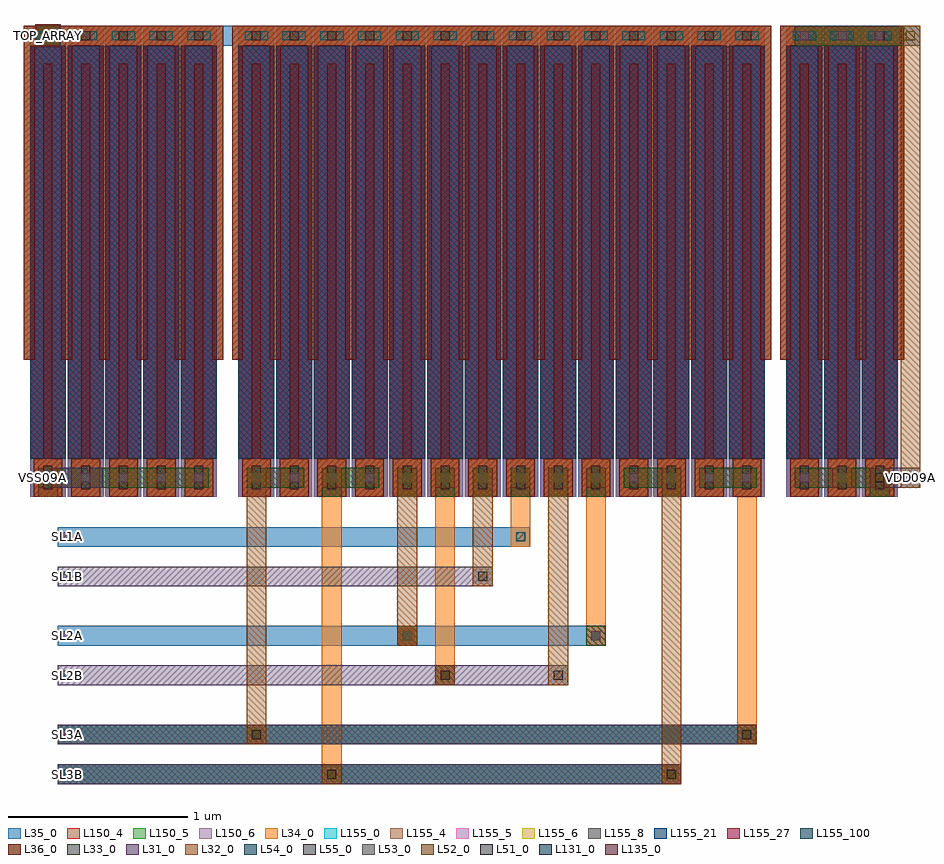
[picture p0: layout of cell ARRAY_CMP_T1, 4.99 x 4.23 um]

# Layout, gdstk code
from math import pi, radians
import gdstk
lib = gdstk.Library(unit=1e-6, precision=1e-09)
def R(c, l, rs):  # rectangles x0, y0, x1, y1
    for r in rs: c.add(gdstk.rectangle(r[:2], r[2:], *l))
def A(c, l, x, y, w, h, nx, ny, dx, dy):  # array of equal rectangles
    R(c, l, [(x+i*dx, y+j*dy, x+i*dx+w, y+j*dy+h) for i in range(nx) for j in range(ny)])
L31_0 = (31, 0)
L32_0 = (32, 0)
L33_0 = (33, 0)
L34_0 = (34, 0)
L35_0 = (35, 0)
L36_0 = (36, 0)
L51_0 = (51, 0)
L52_0 = (52, 0)
L53_0 = (53, 0)
L54_0 = (54, 0)
L55_0 = (55, 0)
L131_0 = (131, 0)
L135_0 = (135, 0)
L150_4 = (150, 4)
L150_5 = (150, 5)
L150_6 = (150, 6)
L155_0 = (155, 0)
L155_4 = (155, 4)
L155_5 = (155, 5)
L155_6 = (155, 6)
L155_8 = (155, 8)
L155_21 = (155, 21)
L155_27 = (155, 27)
L155_100 = (155, 100)

m5_m4_cdns_621574508777 = lib.new_cell('M5_M4_CDNS_621574508777')
R(m5_m4_cdns_621574508777, L34_0, [(-0.07,-0.105,0.07,0.105)])
R(m5_m4_cdns_621574508777, L35_0, [(-0.07,-0.105,0.07,0.105)])
R(m5_m4_cdns_621574508777, L54_0, [(-0.025,-0.065,0.025,0.065)])

m6_m5_cdns_621574508778 = lib.new_cell('M6_M5_CDNS_621574508778')
R(m6_m5_cdns_621574508778, L35_0, [(-0.07,-0.105,0.07,0.105)])
R(m6_m5_cdns_621574508778, L36_0, [(-0.055,-0.105,0.055,0.105)])
R(m6_m5_cdns_621574508778, L55_0, [(-0.025,-0.065,0.025,0.065)])

m5_m4_cdns_621574508779 = lib.new_cell('M5_M4_CDNS_621574508779')
R(m5_m4_cdns_621574508779, L34_0, [(-0.095,-0.055,0.095,0.055)])
R(m5_m4_cdns_621574508779, L35_0, [(-0.12,-0.055,0.12,0.055)])
R(m5_m4_cdns_621574508779, L54_0, [(-0.065,-0.025,0.065,0.025)])

m6_m5_cdns_6215745087710 = lib.new_cell('M6_M5_CDNS_6215745087710')
R(m6_m5_cdns_6215745087710, L35_0, [(-0.055,-0.055,0.055,0.055)])
R(m6_m5_cdns_6215745087710, L36_0, [(-0.055,-0.055,0.055,0.055)])
R(m6_m5_cdns_6215745087710, L55_0, [(-0.025,-0.025,0.025,0.025)])

cu1f = lib.new_cell('CU1F')
R(cu1f, L34_0, [(0.02,0,0.18,0.21), (-0.035,2.51,0.235,2.62)])
R(cu1f, L35_0, [(0.02,0,0.18,0.21), (-0.035,2.51,0.235,2.62)])
R(cu1f, L36_0, [(0.02,0,0.18,0.21), (-0.035,2.51,0.235,2.62)])
R(cu1f, L150_4, [(0,0,0.2,2.62)])
R(cu1f, L150_5, [(0,0,0.2,2.62)])
R(cu1f, L150_6, [(0,0,0.2,2.62)])
R(cu1f, L155_0, [(0,0.21,0.2,2.51)])
R(cu1f, L155_4, [(0,0.21,0.2,2.51)])
R(cu1f, L155_5, [(0,0.21,0.2,2.51)])
R(cu1f, L155_6, [(0,0.21,0.2,2.51)])
R(cu1f, L155_8, [(0,0.21,0.2,2.51)])
R(cu1f, L155_21, [(0,0.21,0.2,2.51)])
R(cu1f, L155_27, [(0,0.21,0.2,2.51)])
R(cu1f, L155_100, [(0,0.21,0.2,2.51)])
cu1f.add(gdstk.FlexPath([(0.205,2.59),(0.205,0.76)], 0.06, ends=(0.03, 0), simple_path=True, layer=34, datatype=0))  # L34_0
cu1f.add(gdstk.FlexPath([(0.1,2.41),(0.1,0)], 0.05, ends="flush", simple_path=True, layer=34, datatype=0))  # L34_0
cu1f.add(gdstk.FlexPath([(-0.005,2.59),(-0.005,0.76)], 0.06, ends=(0.03, 0), simple_path=True, layer=34, datatype=0))  # L34_0
cu1f.add(gdstk.FlexPath([(0.205,0.76),(0.205,2.59)], 0.06, ends=(0, 0.03), simple_path=True, layer=35, datatype=0))  # L35_0
cu1f.add(gdstk.FlexPath([(0.1,2.41),(0.1,0)], 0.05, ends="flush", simple_path=True, layer=35, datatype=0))  # L35_0
cu1f.add(gdstk.FlexPath([(-0.005,0.76),(-0.005,2.59)], 0.06, ends=(0, 0.03), simple_path=True, layer=35, datatype=0))  # L35_0
cu1f.add(gdstk.FlexPath([(0.205,0.76),(0.205,2.59)], 0.06, ends=(0, 0.03), simple_path=True, layer=36, datatype=0))  # L36_0
cu1f.add(gdstk.FlexPath([(0.1,2.41),(0.1,0)], 0.05, ends="flush", simple_path=True, layer=36, datatype=0))  # L36_0
cu1f.add(gdstk.FlexPath([(-0.005,0.76),(-0.005,2.59)], 0.06, ends=(0, 0.03), simple_path=True, layer=36, datatype=0))  # L36_0
cu1f.add(gdstk.Reference(m5_m4_cdns_621574508777, (0.1,0.105), rotation=pi, x_reflection=True))
cu1f.add(gdstk.Reference(m6_m5_cdns_621574508778, (0.1,0.105), rotation=pi, x_reflection=True))
cu1f.add(gdstk.Reference(m5_m4_cdns_621574508779, (0.1,2.565)))
cu1f.add(gdstk.Reference(m6_m5_cdns_6215745087710, (0.1,2.565)))

m2_m1_cdns_621574508770 = lib.new_cell('M2_M1_CDNS_621574508770')
R(m2_m1_cdns_621574508770, L31_0, [(-0.055,-0.055,0.055,0.055)])
R(m2_m1_cdns_621574508770, L32_0, [(-0.055,-0.055,0.055,0.055)])
R(m2_m1_cdns_621574508770, L51_0, [(-0.025,-0.025,0.025,0.025)])

m3_m2_cdns_621574508771 = lib.new_cell('M3_M2_CDNS_621574508771')
R(m3_m2_cdns_621574508771, L32_0, [(-0.055,-0.055,0.055,0.055)])
R(m3_m2_cdns_621574508771, L33_0, [(-0.055,-0.055,0.055,0.055)])
R(m3_m2_cdns_621574508771, L52_0, [(-0.025,-0.025,0.025,0.025)])

m4_m3_cdns_621574508772 = lib.new_cell('M4_M3_CDNS_621574508772')
R(m4_m3_cdns_621574508772, L33_0, [(-0.055,-0.055,0.055,0.055)])
R(m4_m3_cdns_621574508772, L34_0, [(-0.055,-0.055,0.055,0.055)])
R(m4_m3_cdns_621574508772, L53_0, [(-0.025,-0.025,0.025,0.025)])

m4_m3_cdns_621574508773 = lib.new_cell('M4_M3_CDNS_621574508773')
R(m4_m3_cdns_621574508773, L33_0, [(-0.07,-0.065,0.07,0.065)])
R(m4_m3_cdns_621574508773, L34_0, [(-0.055,-0.055,0.055,0.055)])
R(m4_m3_cdns_621574508773, L53_0, [(-0.025,-0.025,0.025,0.025)])

m3_m2_cdns_621574508774 = lib.new_cell('M3_M2_CDNS_621574508774')
R(m3_m2_cdns_621574508774, L32_0, [(-0.065,-0.06,0.065,0.06)])
R(m3_m2_cdns_621574508774, L33_0, [(-0.07,-0.065,0.07,0.065)])
R(m3_m2_cdns_621574508774, L52_0, [(-0.025,-0.025,0.025,0.025)])

m2_m1_cdns_621574508775 = lib.new_cell('M2_M1_CDNS_621574508775')
R(m2_m1_cdns_621574508775, L31_0, [(-0.055,-0.055,0.055,0.055)])
R(m2_m1_cdns_621574508775, L32_0, [(-0.065,-0.06,0.065,0.06)])
R(m2_m1_cdns_621574508775, L51_0, [(-0.025,-0.025,0.025,0.025)])

m5_m4_cdns_621574508776 = lib.new_cell('M5_M4_CDNS_621574508776')
R(m5_m4_cdns_621574508776, L34_0, [(-0.055,-0.055,0.055,0.055)])
R(m5_m4_cdns_621574508776, L35_0, [(-0.055,-0.055,0.055,0.055)])
R(m5_m4_cdns_621574508776, L54_0, [(-0.025,-0.025,0.025,0.025)])

array_cmp_t1 = lib.new_cell('ARRAY_CMP_T1')
R(array_cmp_t1, L31_0, [(-0.055,-1.6,3.415,-1.49), (-0.055,-1.38,3.835,-1.27), (-0.055,-1.05,2.785,-0.94), (-0.055,-0.5,2.365,-0.39), (-0.165,0.05,0.195,0.16), (4.465,0.05,4.745,0.16), (-0.18,2.5,-0.04,2.63)])
R(array_cmp_t1, L32_0, [(3.305,-1.6,3.415,0.16), (0.995,-1.38,1.105,0.16), (2.675,-1.05,2.785,0.16), (1.835,-0.83,1.945,0.16), (2.255,-0.5,2.365,0.16), (-0.165,0,-0.055,0.16), (4.465,0.05,4.575,0.16), (4.635,0.05,4.745,2.62)])
A(array_cmp_t1, L33_0, 1.835, 0, 0.11, 0.16, 6, 1, 0.21, 0)
R(array_cmp_t1, L33_0, [(-0.055,-1.6,3.415,-1.49), (-0.055,-1.38,3.835,-1.27), (1.415,0,1.525,0.16), (3.305,0,3.415,0.16), (4.465,0,4.575,0.16), (-0.165,0.05,0.785,0.16), (0.995,0.05,1.315,0.16), (1.415,0.05,1.735,0.16), (3.095,0.05,3.415,0.16), (3.515,0.05,3.835,0.16), (4.045,0.05,4.575,0.16), (4.045,2.51,4.745,2.62)])
R(array_cmp_t1, L34_0, [(1.415,-1.6,1.525,0.16), (3.725,-1.38,3.835,0.16), (2.045,-1.05,2.155,0.16), (2.885,-0.83,2.995,0.16), (2.465,-0.28,2.575,0.16)])
R(array_cmp_t1, L35_0, [(-0.055,-1.6,3.415,-1.49), (-0.055,-1.38,3.835,-1.27), (-0.055,-0.83,2.995,-0.72), (-0.055,-0.28,2.575,-0.17), (-0.18,2.51,1.125,2.62)])
A(array_cmp_t1, L131_0, -0.025, -1.57, 0.05, 0.05, 1, 3, 0, 0.55)
R(array_cmp_t1, L131_0, [(-0.165,0.08,-0.115,0.13), (4.665,0.08,4.715,0.13), (-0.135,2.54,-0.085,2.59)])
A(array_cmp_t1, L135_0, -0.025, -1.35, 0.05, 0.05, 1, 3, 0, 0.55)
array_cmp_t1.add(gdstk.Reference(cu1f, (4,0)))
array_cmp_t1.add(gdstk.Reference(cu1f, (4.21,0)))
array_cmp_t1.add(gdstk.Reference(cu1f, (0.42,0)))
array_cmp_t1.add(gdstk.Reference(cu1f, (0.63,0)))
array_cmp_t1.add(gdstk.Reference(cu1f, (4.42,0)))
array_cmp_t1.add(gdstk.Reference(cu1f, (0.21,0)))
array_cmp_t1.add(gdstk.Reference(cu1f, (0,0)))
array_cmp_t1.add(gdstk.Reference(cu1f, (-0.21,0)))
array_cmp_t1.add(gdstk.Reference(cu1f, (3.68,0)))
array_cmp_t1.add(gdstk.Reference(cu1f, (3.47,0)))
array_cmp_t1.add(gdstk.Reference(cu1f, (3.26,0)))
array_cmp_t1.add(gdstk.Reference(cu1f, (3.05,0)))
array_cmp_t1.add(gdstk.Reference(cu1f, (2.84,0)))
array_cmp_t1.add(gdstk.Reference(cu1f, (2.63,0)))
array_cmp_t1.add(gdstk.Reference(cu1f, (2.42,0)))
array_cmp_t1.add(gdstk.Reference(cu1f, (2.21,0)))
array_cmp_t1.add(gdstk.Reference(cu1f, (2,0)))
array_cmp_t1.add(gdstk.Reference(cu1f, (1.79,0)))
array_cmp_t1.add(gdstk.Reference(cu1f, (1.58,0)))
array_cmp_t1.add(gdstk.Reference(cu1f, (1.37,0)))
array_cmp_t1.add(gdstk.Reference(cu1f, (1.16,0)))
array_cmp_t1.add(gdstk.Reference(cu1f, (0.95,0)))
array_cmp_t1.add(gdstk.Reference(m2_m1_cdns_621574508770, (3.36,-1.545)))
array_cmp_t1.add(gdstk.Reference(m2_m1_cdns_621574508770, (1.05,-1.325)))
array_cmp_t1.add(gdstk.Reference(m2_m1_cdns_621574508770, (4.69,0.105)))
array_cmp_t1.add(gdstk.Reference(m2_m1_cdns_621574508770, (-0.11,0.105)))
array_cmp_t1.add(gdstk.Reference(m2_m1_cdns_621574508770, (1.47,-1.545)))
array_cmp_t1.add(gdstk.Reference(m2_m1_cdns_621574508770, (4.52,0.105)))
array_cmp_t1.add(gdstk.Reference(m2_m1_cdns_621574508770, (2.31,-0.445)))
array_cmp_t1.add(gdstk.Reference(m2_m1_cdns_621574508770, (2.1,-0.995)))
array_cmp_t1.add(gdstk.Reference(m2_m1_cdns_621574508770, (2.73,-0.995)))
array_cmp_t1.add(gdstk.Reference(m2_m1_cdns_621574508770, (3.78,-1.325)))
array_cmp_t1.add(gdstk.Reference(m3_m2_cdns_621574508771, (1.89,-0.775)))
array_cmp_t1.add(gdstk.Reference(m3_m2_cdns_621574508771, (1.05,-1.325)))
array_cmp_t1.add(gdstk.Reference(m3_m2_cdns_621574508771, (3.36,-1.545)))
array_cmp_t1.add(gdstk.Reference(m3_m2_cdns_621574508771, (4.69,2.565)))
array_cmp_t1.add(gdstk.Reference(m3_m2_cdns_621574508771, (1.05,0.105)))
array_cmp_t1.add(gdstk.Reference(m3_m2_cdns_621574508771, (1.47,0.105)))
array_cmp_t1.add(gdstk.Reference(m3_m2_cdns_621574508771, (1.89,0.105)))
array_cmp_t1.add(gdstk.Reference(m3_m2_cdns_621574508771, (2.1,0.105)))
array_cmp_t1.add(gdstk.Reference(m3_m2_cdns_621574508771, (2.31,0.105)))
array_cmp_t1.add(gdstk.Reference(m3_m2_cdns_621574508771, (2.52,0.105)))
array_cmp_t1.add(gdstk.Reference(m3_m2_cdns_621574508771, (2.73,0.105)))
array_cmp_t1.add(gdstk.Reference(m3_m2_cdns_621574508771, (2.94,0.105)))
array_cmp_t1.add(gdstk.Reference(m3_m2_cdns_621574508771, (3.36,0.105)))
array_cmp_t1.add(gdstk.Reference(m3_m2_cdns_621574508771, (4.52,0.105)))
array_cmp_t1.add(gdstk.Reference(m3_m2_cdns_621574508771, (-0.11,0.105)))
array_cmp_t1.add(gdstk.Reference(m3_m2_cdns_621574508771, (4.31,0.105)))
array_cmp_t1.add(gdstk.Reference(m3_m2_cdns_621574508771, (1.47,-1.545)))
array_cmp_t1.add(gdstk.Reference(m3_m2_cdns_621574508771, (2.1,-0.995)))
array_cmp_t1.add(gdstk.Reference(m3_m2_cdns_621574508771, (3.78,-1.325)))
array_cmp_t1.add(gdstk.Reference(m4_m3_cdns_621574508772, (3.36,-1.545)))
array_cmp_t1.add(gdstk.Reference(m4_m3_cdns_621574508772, (1.68,0.105)))
array_cmp_t1.add(gdstk.Reference(m4_m3_cdns_621574508772, (1.05,-1.325)))
array_cmp_t1.add(gdstk.Reference(m4_m3_cdns_621574508772, (4.51,2.565), rotation=pi, x_reflection=True))
array_cmp_t1.add(gdstk.Reference(m4_m3_cdns_621574508772, (4.1,2.565), rotation=pi, x_reflection=True))
array_cmp_t1.add(gdstk.Reference(m4_m3_cdns_621574508772, (1.05,0.105)))
array_cmp_t1.add(gdstk.Reference(m4_m3_cdns_621574508772, (1.26,0.105)))
array_cmp_t1.add(gdstk.Reference(m4_m3_cdns_621574508772, (1.47,0.105)))
array_cmp_t1.add(gdstk.Reference(m4_m3_cdns_621574508772, (1.89,0.105)))
array_cmp_t1.add(gdstk.Reference(m4_m3_cdns_621574508772, (2.1,0.105)))
array_cmp_t1.add(gdstk.Reference(m4_m3_cdns_621574508772, (2.31,0.105)))
array_cmp_t1.add(gdstk.Reference(m4_m3_cdns_621574508772, (2.52,0.105)))
array_cmp_t1.add(gdstk.Reference(m4_m3_cdns_621574508772, (2.73,0.105)))
array_cmp_t1.add(gdstk.Reference(m4_m3_cdns_621574508772, (2.94,0.105)))
array_cmp_t1.add(gdstk.Reference(m4_m3_cdns_621574508772, (3.15,0.105)))
array_cmp_t1.add(gdstk.Reference(m4_m3_cdns_621574508772, (3.36,0.105)))
array_cmp_t1.add(gdstk.Reference(m4_m3_cdns_621574508772, (3.57,0.105)))
array_cmp_t1.add(gdstk.Reference(m4_m3_cdns_621574508772, (3.78,0.105)))
array_cmp_t1.add(gdstk.Reference(m4_m3_cdns_621574508772, (4.52,0.105)))
array_cmp_t1.add(gdstk.Reference(m4_m3_cdns_621574508772, (1.47,-1.545)))
array_cmp_t1.add(gdstk.Reference(m4_m3_cdns_621574508772, (0.1,0.105)))
array_cmp_t1.add(gdstk.Reference(m4_m3_cdns_621574508772, (0.31,0.105)))
array_cmp_t1.add(gdstk.Reference(m4_m3_cdns_621574508772, (-0.11,0.105)))
array_cmp_t1.add(gdstk.Reference(m4_m3_cdns_621574508772, (0.73,0.105)))
array_cmp_t1.add(gdstk.Reference(m4_m3_cdns_621574508772, (0.52,0.105)))
array_cmp_t1.add(gdstk.Reference(m4_m3_cdns_621574508772, (4.1,0.105)))
array_cmp_t1.add(gdstk.Reference(m4_m3_cdns_621574508772, (4.31,0.105)))
array_cmp_t1.add(gdstk.Reference(m4_m3_cdns_621574508772, (4.31,2.565), rotation=pi, x_reflection=True))
array_cmp_t1.add(gdstk.Reference(m4_m3_cdns_621574508772, (3.78,-1.325)))
array_cmp_t1.add(gdstk.Reference(m4_m3_cdns_621574508772, (1.89,-0.775)))
array_cmp_t1.add(gdstk.Reference(m4_m3_cdns_621574508772, (2.94,-0.775)))
array_cmp_t1.add(gdstk.Reference(m4_m3_cdns_621574508772, (2.1,-0.995)))
array_cmp_t1.add(gdstk.Reference(m4_m3_cdns_621574508773, (-0.11,2.565)))
array_cmp_t1.add(gdstk.Reference(m3_m2_cdns_621574508774, (-0.11,2.565)))
array_cmp_t1.add(gdstk.Reference(m2_m1_cdns_621574508775, (-0.11,2.565)))
array_cmp_t1.add(gdstk.Reference(m5_m4_cdns_621574508776, (1.89,-0.775)))
array_cmp_t1.add(gdstk.Reference(m5_m4_cdns_621574508776, (2.94,-0.775)))
array_cmp_t1.add(gdstk.Reference(m5_m4_cdns_621574508776, (2.52,-0.225)))
array_cmp_t1.add(gdstk.Reference(m5_m4_cdns_621574508776, (3.78,-1.325)))
array_cmp_t1.add(gdstk.Reference(m5_m4_cdns_621574508776, (1.47,-1.545)))
array_cmp_t1.add(gdstk.Reference(m5_m4_cdns_621574508776, (3.36,-1.545)))
array_cmp_t1.add(gdstk.Reference(m5_m4_cdns_621574508776, (1.05,-1.325)))
array_cmp_t1.add(gdstk.Label('SL3A', (0,-1.325), layer=135, texttype=0))
array_cmp_t1.add(gdstk.Label('SL2A', (0,-0.775), layer=135, texttype=0))
array_cmp_t1.add(gdstk.Label('SL1A', (0,-0.225), layer=135, texttype=0))
array_cmp_t1.add(gdstk.Label('VDD09A', (4.69,0.105), layer=131, texttype=0))
array_cmp_t1.add(gdstk.Label('SL1B', (0,-0.445), layer=131, texttype=0))
array_cmp_t1.add(gdstk.Label('VSS09A', (-0.14,0.105), layer=131, texttype=0))
array_cmp_t1.add(gdstk.Label('SL2B', (0,-0.995), layer=131, texttype=0))
array_cmp_t1.add(gdstk.Label('TOP_ARRAY', (-0.112,2.565), layer=131, texttype=0))
array_cmp_t1.add(gdstk.Label('SL3B', (0,-1.545), layer=131, texttype=0))

lib.write_gds('ARRAY_CMP_T1.gds')
